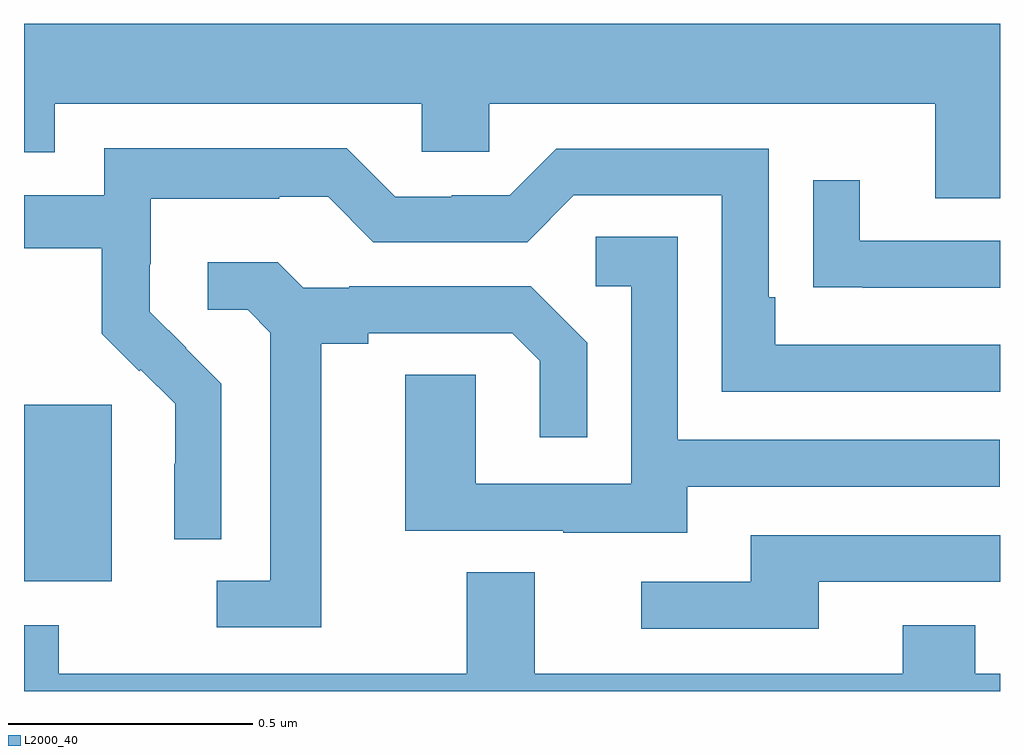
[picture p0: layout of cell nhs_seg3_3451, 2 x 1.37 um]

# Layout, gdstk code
import gdstk
lib = gdstk.Library(unit=1e-6, precision=1e-09)
def R(c, l, rs):  # rectangles x0, y0, x1, y1
    for r in rs: c.add(gdstk.rectangle(r[:2], r[2:], *l))
def P(c, l, *ps):  # polygons
    for p in ps: c.add(gdstk.Polygon(p, *l))
L2000_40 = (2000, 40)

nhs_seg3_3451 = lib.new_cell('nhs_seg3_3451')
R(nhs_seg3_3451, L2000_40, [(154.001,678.626,154.18,678.987)])
P(nhs_seg3_3451, L2000_40, [(156,679.768),(154,679.768),(154,679.505),(154.063,679.505),(154.063,679.604),(154.815,679.604),(154.815,679.506),(154.953,679.506),(154.953,679.604),(155.867,679.604),(155.867,679.41),(156,679.41)],
  [(154.404,679.03),(154.331,679.103),(154.332,679.104),(154.258,679.178),(154.258,679.275),(154.26,679.275),(154.26,679.409),(154.523,679.409),(154.523,679.413),(154.623,679.413),(154.716,679.32),(155.031,679.32),(155.127,679.416),(155.43,679.416),(155.43,679.014),(156,679.014),(156,679.11),(155.539,679.11),(155.539,679.207),(155.526,679.207),(155.526,679.512),(155.091,679.512),(154.995,679.416),(154.877,679.416),(154.877,679.413),(154.761,679.413),(154.661,679.513),(154.164,679.513),(154.164,679.416),(154,679.416),(154,679.308),(154.159,679.308),(154.159,679.133),(154.236,679.056),(154.239,679.059),(154.31,678.989),(154.31,678.866),(154.308,678.866),(154.308,678.712),(154.404,678.712)],
  [(156,679.323),(155.713,679.323),(155.713,679.447),(155.617,679.447),(155.617,679.228),(155.719,679.228),(155.719,679.227),(156,679.227)],
  [(155.359,678.819),(155.999,678.819),(155.999,678.915),(155.34,678.915),(155.34,679.331),(155.172,679.331),(155.172,679.23),(155.244,679.23),(155.244,678.825),(154.926,678.825),(154.926,679.049),(154.781,679.049),(154.781,678.729),(155.105,678.729),(155.105,678.725),(155.359,678.725)],
  [(154.609,679.112),(154.705,679.112),(154.705,679.134),(155,679.134),(155.057,679.077),(155.057,678.921),(155.154,678.921),(155.154,679.114),(155.038,679.23),(154.666,679.23),(154.666,679.227),(154.572,679.227),(154.52,679.279),(154.377,679.279),(154.377,679.182),(154.458,679.182),(154.505,679.135),(154.505,678.627),(154.395,678.627),(154.395,678.531),(154.609,678.531)],
  [(155.629,678.624),(156,678.624),(156,678.72),(155.489,678.72),(155.489,678.624),(155.265,678.624),(155.265,678.528),(155.629,678.528)],
  [(156,678.436),(155.949,678.436),(155.949,678.535),(155.801,678.535),(155.801,678.436),(155.047,678.436),(155.047,678.644),(154.907,678.644),(154.907,678.436),(154.071,678.436),(154.071,678.535),(154,678.535),(154,678.4),(156,678.4)])

lib.write_gds('nhs_seg3_3451.gds')
